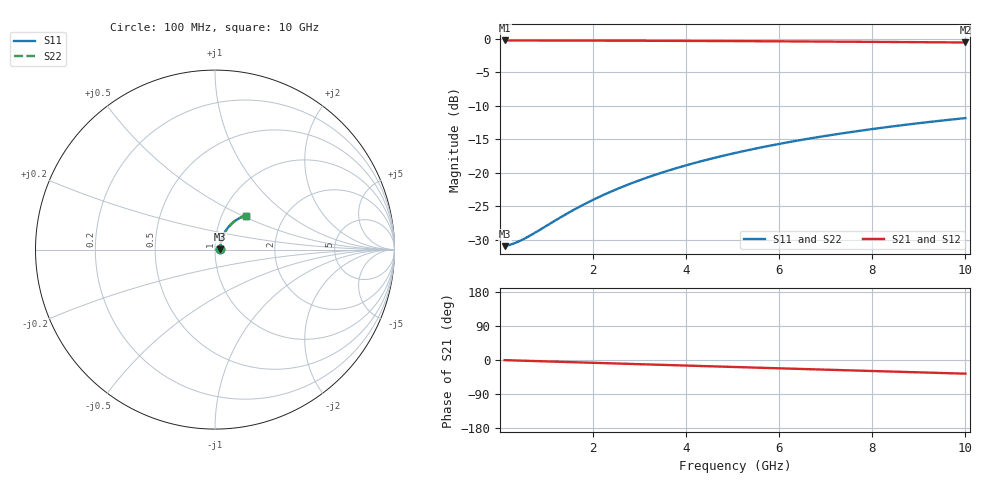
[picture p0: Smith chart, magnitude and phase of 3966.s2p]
# Hz S RI R 50.00
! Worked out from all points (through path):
!   100 points, 100 MHz to 10 GHz, reference 50 ohm
!   highest |S21| = -0.25 dB at 100 MHz (marker M1); lowest = -0.6 dB at 10 GHz (marker M2)
!   group delay of S21, straight-line fit = 10 ps
!   lowest |S11| = -31.0 dB at 100 MHz (marker M3), VSWR 1.06, Z = 52.9 + j0.276 ohm
!   |S11| at or under -10 dB: start of sweep to end of sweep
!   |S22| runs from -31.0 to -11.8 dB; largest |S21 - S12| = 0
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1e8  0.0282 0.00261  0.9718 -0.00626  0.9718 -0.00626  0.0282 0.00261
2e8  0.0284 0.00522  0.9715 -0.0125  0.9715 -0.0125  0.0284 0.00522
3e8  0.0287 0.00782  0.9713 -0.0188  0.9713 -0.0188  0.0287 0.00782
4e8  0.0289 0.0104  0.971 -0.025  0.971 -0.025  0.0289 0.0104
5e8  0.0291 0.013  0.9707 -0.0313  0.9707 -0.0313  0.0291 0.013
7e8  0.0297 0.0182  0.97 -0.0437  0.97 -0.0437  0.0297 0.0182
1.4e9  0.0325 0.0362  0.9661 -0.0873  0.9661 -0.0873  0.0325 0.0362
1.8e9  0.0348 0.0463  0.9629 -0.112  0.9629 -0.112  0.0348 0.0463
2.2e9  0.0377 0.0563  0.959 -0.1365  0.959 -0.1365  0.0377 0.0563
2.6e9  0.041 0.0661  0.9544 -0.1609  0.9544 -0.1609  0.041 0.0661
3e9  0.0447 0.0757  0.9491 -0.1851  0.9491 -0.1851  0.0447 0.0757
3.4e9  0.049 0.0851  0.9431 -0.2091  0.9431 -0.2091  0.049 0.0851
3.8e9  0.0537 0.0943  0.9364 -0.2328  0.9364 -0.2328  0.0537 0.0943
4.2e9  0.0589 0.1031  0.929 -0.2563  0.929 -0.2563  0.0589 0.1031
4.6e9  0.0645 0.1117  0.921 -0.2794  0.921 -0.2794  0.0645 0.1117
5.1e9  0.0721 0.122  0.9101 -0.3078  0.9101 -0.3078  0.0721 0.122
5.9e9  0.0856 0.1373  0.8906 -0.3522  0.8906 -0.3522  0.0856 0.1373
6.7e9  0.1004 0.151  0.8689 -0.3949  0.8689 -0.3949  0.1004 0.151
7.5e9  0.1164 0.1632  0.845 -0.436  0.845 -0.436  0.1164 0.1632
8.4e9  0.1356 0.1747  0.8158 -0.48  0.8158 -0.48  0.1356 0.1747
9.2e9  0.1535 0.1831  0.788 -0.5172  0.788 -0.5172  0.1535 0.1831
1e10  0.172 0.1895  0.7587 -0.5523  0.7587 -0.5523  0.172 0.1895
